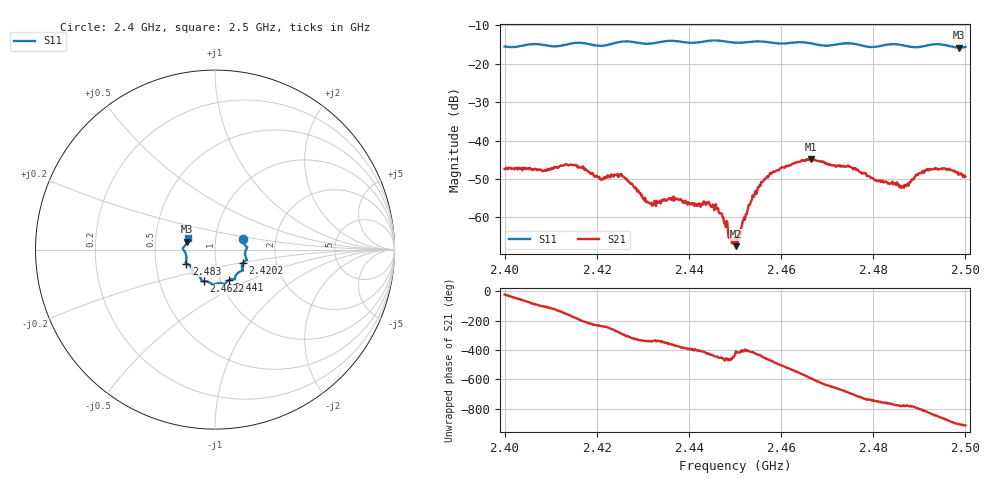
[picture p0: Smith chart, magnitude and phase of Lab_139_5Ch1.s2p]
# Hz S RI R 50
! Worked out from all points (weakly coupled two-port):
!   601 points, 2.4 GHz to 2.5 GHz, reference 50 ohm
!   highest |S21| = -44.81 dB at 2.4665 GHz (marker M1); lowest = -67.5 dB at 2.4502 GHz (marker M2)
!   lowest |S11| = -15.8 dB at 2.4987 GHz (marker M3), VSWR 1.39, Z = 36.4 + j3.3 ohm
!   |S11| at or under -10 dB: start of sweep to end of sweep
!   S12 and S22 are empty: the file has one direction only
!   S11 on the Smith chart (normalised r, x): 2.4 GHz: 1.36, +0.17; 2.4202 GHz: 1.35, -0.20; 2.441 GHz: 1.09, -0.39; 2.4622 GHz: 0.83, -0.30; 2.483 GHz: 0.72, -0.12; 2.5 GHz: 0.73, +0.09
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2.4e9  0.1565 0.0605  0.00392 -0.00169  0 0  0 0
2.416667e9  0.1776 -0.0583  -0.00424 0.00144  0 0  0 0
2.420167e9  0.1561 -0.0719  -0.00197 0.00271  0 0  0 0
2.4255e9  0.1568 -0.1148  0.00123 0.00324  0 0  0 0
2.431167e9  0.124 -0.1332  0.00146 0.000595  0 0  0 0
2.433333e9  0.1129 -0.1523  0.00146 0.000602  0 0  0 0
2.436167e9  0.1104 -0.1651  0.0017 -9.3e-05  0 0  0 0
2.441e9  0.0767 -0.1706  0.00123 -0.000896  0 0  0 0
2.445833e9  0.052 -0.194  0.000139 -0.00149  0 0  0 0
2.45e9  0.0267 -0.1863  0.000185 -0.000513  0 0  0 0
2.450167e9  0.0253 -0.1862  0.000279 -0.000318  0 0  0 0
2.453333e9  -0.00225 -0.1928  0.000926 -0.00122  0 0  0 0
2.4555e9  -0.012 -0.195  0.00063 -0.00249  0 0  0 0
2.462167e9  -0.0632 -0.1763  -0.00477 -0.000686  0 0  0 0
2.4665e9  -0.0762 -0.168  -0.00342 0.00462  0 0  0 0
2.466667e9  -0.0764 -0.1669  -0.00327 0.00472  0 0  0 0
2.483e9  -0.1593 -0.078  0.00227 -0.00173  0 0  0 0
2.483333e9  -0.1608 -0.0772  0.00202 -0.00193  0 0  0 0
2.487167e9  -0.1602 -0.0577  0.00138 -0.00215  0 0  0 0
2.492e9  -0.1745 -0.00248  -0.00104 -0.00394  0 0  0 0
2.498667e9  -0.156 0.0441  -0.00368 0.000324  0 0  0 0
2.5e9  -0.1531 0.0627  -0.00334 0.000643  0 0  0 0
